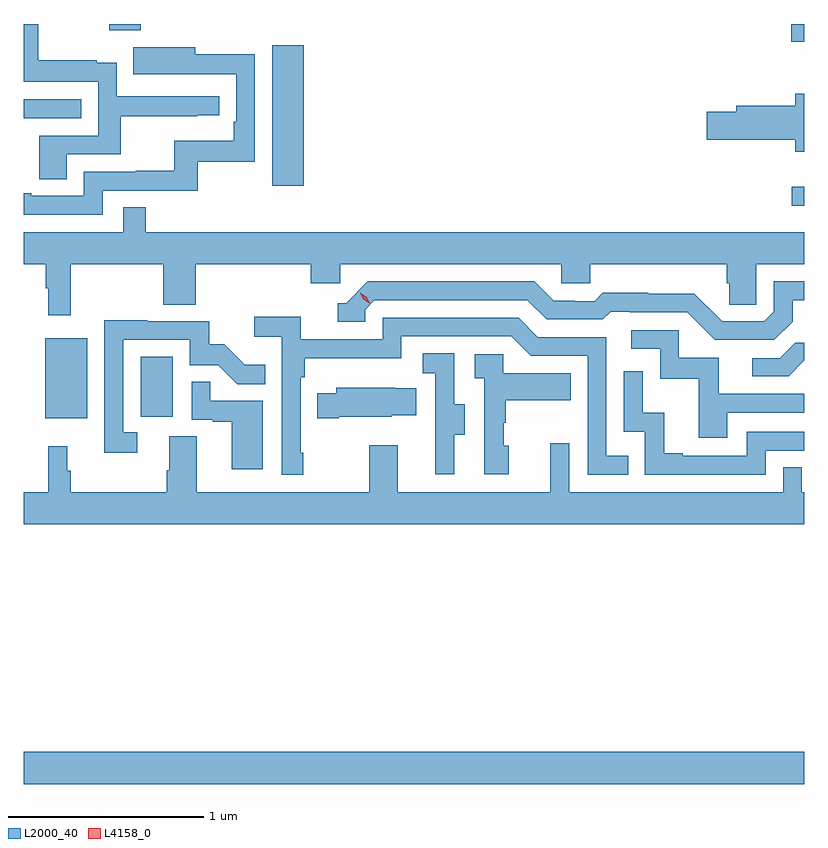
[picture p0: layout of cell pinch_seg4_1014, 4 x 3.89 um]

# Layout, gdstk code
import gdstk
lib = gdstk.Library(unit=1e-6, precision=1e-09)
def R(c, l, rs):  # rectangles x0, y0, x1, y1
    for r in rs: c.add(gdstk.rectangle(r[:2], r[2:], *l))
def P(c, l, *ps):  # polygons
    for p in ps: c.add(gdstk.Polygon(p, *l))
L2000_40 = (2000, 40)
L4158_0 = (4158, 0)

pinch_seg4_1014 = lib.new_cell('pinch_seg4_1014')
R(pinch_seg4_1014, L2000_40, [(802.749,770.18,806.749,770.344), (802.859,772.055,803.074,772.465), (803.348,772.062,803.512,772.369), (806.685,773.144,806.749,773.241), (804.023,773.244,804.184,773.965), (802.749,773.592,803.045,773.688), (806.681,773.982,806.749,774.074), (803.188,774.041,803.348,774.074)])
P(pinch_seg4_1014, L2000_40, [(802.969,773.406),(803.246,773.406),(803.246,773.602),(803.639,773.602),(803.639,773.607),(803.752,773.607),(803.752,773.703),(803.226,773.703),(803.226,773.875),(803.123,773.875),(803.123,773.887),(802.825,773.887),(802.825,774.074),(802.749,774.074),(802.749,773.778),(803.13,773.778),(803.13,773.502),(802.829,773.502),(802.829,773.278),(802.969,773.278)],
  [(803.154,773.22),(803.641,773.22),(803.641,773.367),(803.934,773.367),(803.934,773.918),(803.629,773.918),(803.629,773.956),(803.311,773.956),(803.311,773.816),(803.525,773.816),(803.525,773.817),(803.838,773.817),(803.838,773.572),(803.825,773.572),(803.825,773.476),(803.52,773.476),(803.52,773.321),(803.323,773.321),(803.323,773.316),(803.058,773.316),(803.058,773.193),(802.789,773.193),(802.789,773.206),(802.749,773.206),(802.749,773.097),(803.154,773.097)],
  [(806.749,773.716),(806.702,773.716),(806.702,773.654),(806.399,773.654),(806.399,773.624),(806.25,773.624),(806.25,773.482),(806.702,773.482),(806.702,773.42),(806.749,773.42)],
  [(802.991,772.844),(803.465,772.844),(803.465,772.636),(803.63,772.636),(803.63,772.844),(804.221,772.844),(804.221,772.746),(804.372,772.746),(804.372,772.844),(805.503,772.844),(805.503,772.746),(805.653,772.746),(805.653,772.844),(806.351,772.844),(806.351,772.746),(806.365,772.746),(806.365,772.636),(806.502,772.636),(806.502,772.844),(806.749,772.844),(806.749,773.008),(803.375,773.008),(803.375,773.135),(803.259,773.135),(803.259,773.008),(802.749,773.008),(802.749,772.844),(802.863,772.844),(802.863,772.721),(802.874,772.721),(802.874,772.581),(802.991,772.581)],
  [(806.689,772.549),(806.689,772.659),(806.749,772.659),(806.749,772.755),(806.592,772.755),(806.592,772.599),(806.544,772.551),(806.328,772.551),(806.186,772.693),(805.95,772.693),(805.95,772.696),(805.717,772.696),(805.675,772.653),(805.572,772.653),(805.572,772.656),(805.465,772.656),(805.366,772.755),(804.513,772.755),(804.402,772.644),(804.359,772.644),(804.359,772.548),(804.498,772.548),(804.498,772.611),(804.546,772.659),(805.329,772.659),(805.428,772.56),(805.717,772.56),(805.756,772.599),(805.855,772.599),(805.855,772.596),(806.148,772.596),(806.289,772.455),(806.595,772.455)],
  [(804.181,771.877),(804.168,771.877),(804.168,772.265),(804.188,772.265),(804.188,772.361),(804.684,772.361),(804.684,772.473),(805.248,772.473),(805.347,772.374),(805.638,772.374),(805.638,771.765),(805.847,771.765),(805.847,771.861),(805.734,771.861),(805.734,772.47),(805.384,772.47),(805.285,772.569),(804.588,772.569),(804.588,772.458),(804.17,772.458),(804.17,772.574),(803.931,772.574),(803.931,772.472),(804.072,772.472),(804.072,771.765),(804.181,771.765)],
  [(803.332,771.981),(803.259,771.981),(803.259,772.455),(803.601,772.455),(803.601,772.326),(803.745,772.326),(803.843,772.228),(803.987,772.228),(803.987,772.327),(803.883,772.327),(803.776,772.434),(803.7,772.434),(803.7,772.551),(803.381,772.551),(803.381,772.556),(803.163,772.556),(803.163,771.876),(803.332,771.876)],
  [(806.353,772.083),(806.749,772.083),(806.749,772.179),(806.311,772.179),(806.311,772.365),(806.106,772.365),(806.106,772.506),(805.863,772.506),(805.863,772.41),(806.01,772.41),(806.01,772.257),(806.209,772.257),(806.209,771.954),(806.353,771.954)],
  [(806.749,772.35),(806.749,772.442),(806.702,772.442),(806.622,772.362),(806.481,772.362),(806.481,772.269),(806.668,772.269)],
  [(804.955,771.97),(805.009,771.97),(805.009,772.125),(804.954,772.125),(804.954,772.388),(804.795,772.388),(804.795,772.285),(804.858,772.285),(804.858,771.981),(804.857,771.981),(804.857,771.768),(804.955,771.768)],
  [(805.234,771.912),(805.209,771.912),(805.209,772.031),(805.219,772.031),(805.219,772.145),(805.553,772.145),(805.553,772.285),(805.206,772.285),(805.206,772.383),(805.059,772.383),(805.059,772.259),(805.11,772.259),(805.11,771.768),(805.234,771.768)],
  [(806.55,771.888),(806.749,771.888),(806.749,771.984),(806.454,771.984),(806.454,771.861),(806.125,771.861),(806.125,771.874),(806.03,771.874),(806.03,772.082),(805.92,772.082),(805.92,772.294),(805.824,772.294),(805.824,771.984),(805.932,771.984),(805.932,771.765),(806.55,771.765)],
  [(803.974,772.143),(803.705,772.143),(803.705,772.241),(803.61,772.241),(803.61,772.047),(803.717,772.047),(803.717,772.035),(803.816,772.035),(803.816,771.792),(803.974,771.792)],
  [(804.364,772.061),(804.636,772.061),(804.636,772.07),(804.761,772.07),(804.761,772.207),(804.653,772.207),(804.653,772.21),(804.351,772.21),(804.351,772.183),(804.253,772.183),(804.253,772.054),(804.364,772.054)],
  [(806.749,771.676),(806.736,771.676),(806.736,771.803),(806.64,771.803),(806.64,771.676),(805.545,771.676),(805.545,771.925),(805.448,771.925),(805.448,771.676),(804.667,771.676),(804.667,771.916),(804.52,771.916),(804.52,771.676),(803.635,771.676),(803.635,771.962),(803.495,771.962),(803.495,771.788),(803.483,771.788),(803.483,771.676),(802.991,771.676),(802.991,771.785),(802.973,771.785),(802.973,771.91),(802.874,771.91),(802.874,771.676),(802.749,771.676),(802.749,771.512),(806.749,771.512)])
P(pinch_seg4_1014, L4158_0, [(804.52,772.644),(804.49,772.663),(804.473,772.696),(804.473,772.696),(804.474,772.696),(804.504,772.676),(804.521,772.644),(804.521,772.644)])

lib.write_gds('pinch_seg4_1014.gds')
